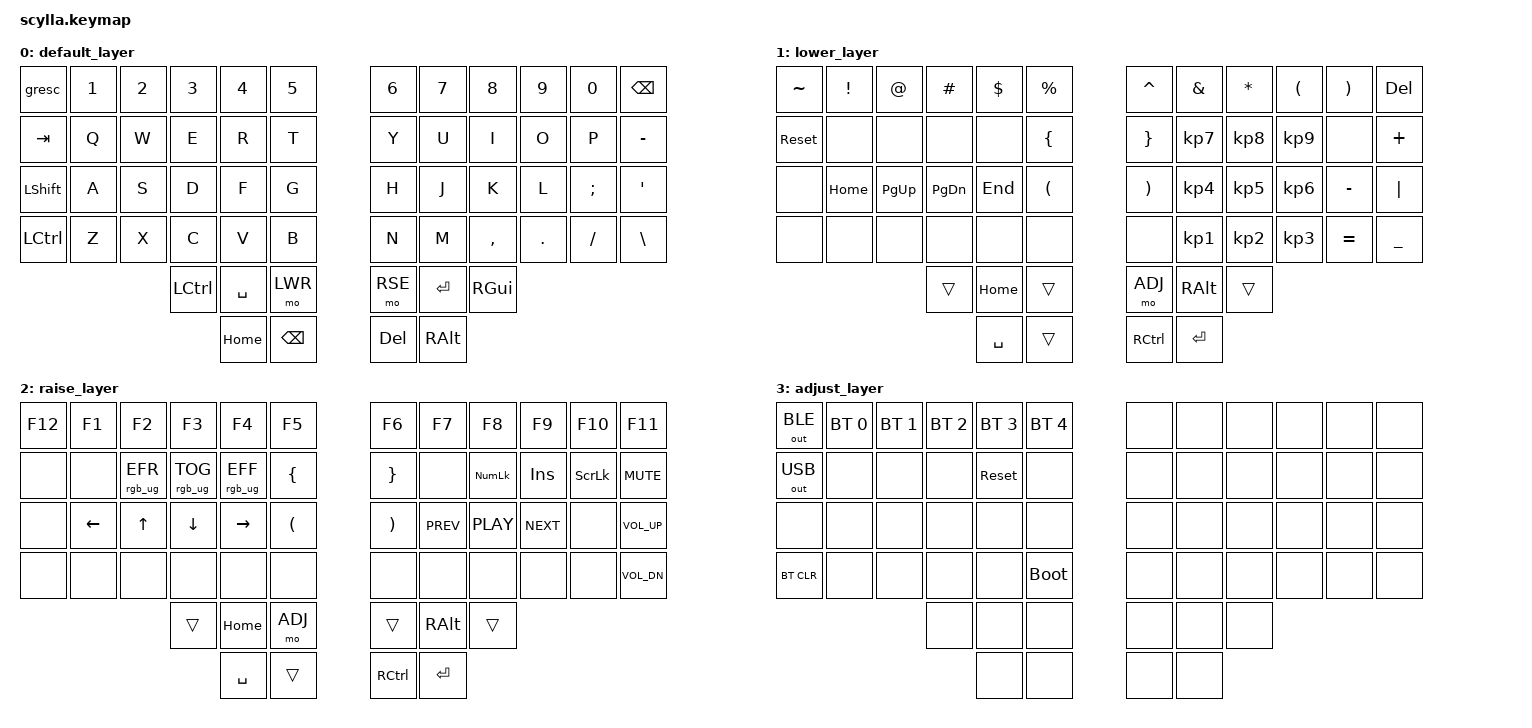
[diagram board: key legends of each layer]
#include <behaviors.dtsi>
#include <dt-bindings/zmk/keys.h>
#include <dt-bindings/zmk/bt.h>
#include <dt-bindings/zmk/outputs.h>
#include <dt-bindings/zmk/rgb.h>

#define DEFAULT 0
#define LWR 1
#define RSE 2
#define ADJ 3

/ {
    keymap {
        compatible = "zmk,keymap";

        default_layer {
            bindings = <
                &gresc     &kp N1  &kp N2    &kp N3    &kp N4    &kp N5                &kp N6  &kp N7   &kp N8  &kp N9    &kp N0   &kp BSPC
                &kp TAB    &kp Q   &kp W     &kp E     &kp R     &kp T                 &kp Y   &kp U    &kp I     &kp O   &kp P    &kp MINUS
                &kp LSHIFT &kp A   &kp S     &kp D     &kp F     &kp G                 &kp H   &kp J    &kp K     &kp L   &kp SEMI &kp SQT
                &kp LCTRL  &kp Z   &kp X     &kp C     &kp V     &kp B                 &kp N   &kp M    &kp COMMA &kp DOT &kp FSLH &kp BSLH
                                             &kp LCTRL &kp SPACE &mo LWR               &mo RSE &kp RET  &kp RGUI
                                                       &kp HOME  &kp BSPC              &kp DEL &kp RALT
            >;
        };

        lower_layer {
            bindings = <
                &kp TILDE  &kp EXCL &kp AT    &kp HASH   &kp DLLR  &kp PRCNT            &kp CARET &kp AMPS  &kp ASTRK &kp LPAR  &kp RPAR  &kp DEL
                &sys_reset &none    &none     &none      &none     &kp LBRC             &kp RBRC  &kp KP_N7 &kp KP_N8 &kp KP_N9 &none     &kp PLUS
                &none      &kp HOME &kp PG_UP &kp PG_DN  &kp END   &kp LPAR             &kp RPAR  &kp KP_N4 &kp KP_N5 &kp KP_N6 &kp MINUS &kp PIPE 
                &none      &none    &none     &none      &none     &none                &none     &kp KP_N1 &kp KP_N2 &kp KP_N3 &kp EQUAL &kp UNDER
                                             &trans     &kp HOME  &trans               &mo ADJ   &kp RALT  &trans
                                                        &kp SPACE &trans               &kp RCTRL &kp RET
            >;
        };

        raise_layer {
            bindings = <
                &kp F12 &kp F1   &kp F2          &kp F3          &kp F4          &kp F5               &kp F6   &kp F7     &kp F8     &kp F9     &kp F10  &kp F11
                &none   &none    &rgb_ug RGB_EFR &rgb_ug RGB_TOG &rgb_ug RGB_EFF &kp LBRC             &kp RBRC &none      &kp KP_NUM &kp INS    &kp SLCK &kp C_MUTE
                &none   &kp LEFT &kp UP          &kp DOWN        &kp RIGHT       &kp LPAR             &kp RPAR &kp C_PREV &kp C_PLAY &kp C_NEXT &none    &kp C_VOL_UP
                &none   &none    &none           &none           &none           &none                &none    &none      &none      &none      &none    &kp C_VOL_DN 
                                                 &trans          &kp HOME        &mo ADJ              &trans   &kp RALT   &trans
                                                                 &kp SPACE       &trans               &kp RCTRL &kp RET
            >;
        };

        adjust_layer {
            bindings = <
                &out OUT_BLE &bt BT_SEL 0 &bt BT_SEL 1 &bt BT_SEL 2 &bt BT_SEL 3 &bt BT_SEL 4              &none &none &none &none &none &none
                &out OUT_USB &none        &none        &none        &sys_reset   &none                     &none &none &none &none &none &none
                &none        &none        &none        &none        &none        &none                     &none &none &none &none &none &none
                &bt BT_CLR   &none        &none        &none        &none        &bootloader               &none &none &none &none &none &none
                                                       &none        &none        &none                     &none &none &none
                                                                    &none        &none                     &none &none
            >;
        };
        extra1 {
            status = "reserved";
        };
        extra2 {
            status = "reserved";
        };
    };
};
